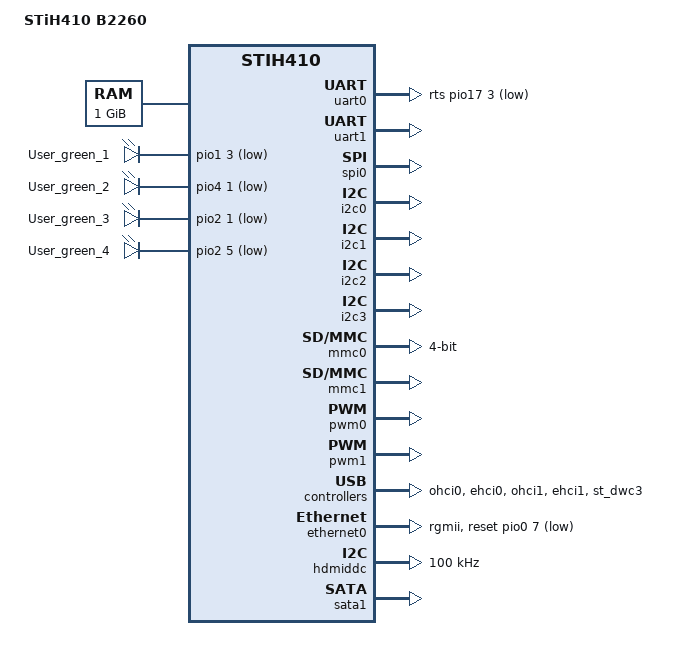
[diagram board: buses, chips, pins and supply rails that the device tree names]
// SPDX-License-Identifier: GPL-2.0-only
/*
 * Copyright (C) 2016 STMicroelectronics (R&D) Limited.
 * Author: Patrice Chotard <patrice.chotard@st.com>
 */
/dts-v1/;
#include "stih410.dtsi"
#include <dt-bindings/gpio/gpio.h>

/ {
	model = "STiH410 B2260";
	compatible = "st,stih410-b2260", "st,stih410";

	chosen {
		stdout-path = &uart1;
	};

	memory@40000000 {
		device_type = "memory";
		reg = <0x40000000 0x40000000>;
	};

	aliases {
		serial1 = &uart1;
		ethernet0 = &ethernet0;
	};

	leds {
		compatible = "gpio-leds";
		led-user-green-1 {
			label = "User_green_1";
			gpios = <&pio1 3 GPIO_ACTIVE_LOW>;
			linux,default-trigger = "heartbeat";
			default-state = "off";
		};

		led-user-green-2 {
			label = "User_green_2";
			gpios = <&pio4 1 GPIO_ACTIVE_LOW>;
			default-state = "off";
		};

		led-user-green-3 {
			label = "User_green_3";
			gpios = <&pio2 1 GPIO_ACTIVE_LOW>;
			default-state = "off";
		};

		led-user-green-4 {
			label = "User_green_4";
			gpios = <&pio2 5 GPIO_ACTIVE_LOW>;
			default-state = "off";
		};
	};

	sound: sound {
		compatible = "simple-audio-card";
		simple-audio-card,name = "STI-B2260";
		status = "okay";
		#address-cells = <1>;
		#size-cells = <0>;

		simple-audio-card,dai-link@0 {
			reg = <0>;
			/* DAC */
			format = "i2s";
			mclk-fs = <128>;
			cpu {
				sound-dai = <&sti_uni_player0>;
			};

			codec {
				sound-dai = <&sti_hdmi>;
			};
		};
	};

	miphy28lp_phy: miphy28lp {

		phy_port1: port@9b2a000 {
			st,osc-force-ext;
		};
	};

	usb2_picophy1: phy2 {
		status = "okay";
	};

	usb2_picophy2: phy3 {
		status = "okay";
	};

	soc {
		/* Low speed expansion connector */
		uart0: serial@9830000 {
			label = "LS-UART0";
			pinctrl-names = "default", "no-hw-flowctrl";
			pinctrl-0 = <&pinctrl_serial0_hw_flowctrl>;
			pinctrl-1 = <&pinctrl_serial0>;
			rts-gpios = <&pio17 3 GPIO_ACTIVE_LOW>;
			uart-has-rtscts;
			status = "okay";
		};

		/* Low speed expansion connector */
		uart1: serial@9831000 {
			label = "LS-UART1";
			status = "okay";
		};

		/* Low speed expansion connector */
		spi0: spi@9844000 {
			label = "LS-SPI0";
			cs-gpios = <&pio30 3 0>;
			status = "okay";
		};

		/* Low speed expansion connector */
		i2c0: i2c@9840000 {
			label = "LS-I2C0";
			status = "okay";
		};

		/* Low speed expansion connector */
		i2c1: i2c@9841000 {
			label = "LS-I2C1";
			status = "okay";
		};

		/* high speed expansion connector */
		i2c2: i2c@9842000 {
			label = "HS-I2C2";
			pinctrl-0 = <&pinctrl_i2c2_alt2_1>;
			status = "okay";
		};

		/* high speed expansion connector */
		i2c3: i2c@9843000 {
			label = "HS-I2C3";
			pinctrl-0 = <&pinctrl_i2c3_alt3_0>;
			status = "okay";
		};

		mmc0: sdhci@9060000 {
			pinctrl-0 = <&pinctrl_sd0>;
			bus-width = <4>;
			status = "okay";
		};

		/* high speed expansion connector */
		mmc1: sdhci@9080000 {
			status = "okay";
		};

		pwm0: pwm@9810000 {
			status = "okay";
		};

		pwm1: pwm@9510000 {
			status = "okay";
		};

		ohci0: usb@9a03c00 {
			status = "okay";
		};

		ehci0: usb@9a03e00 {
			status = "okay";
		};

		ohci1: usb@9a83c00 {
			status = "okay";
		};

		ehci1: usb@9a83e00 {
			status = "okay";
		};

		st_dwc3: dwc3@8f94000 {
			status = "okay";
		};

		ethernet0: dwmac@9630000 {
			phy-mode = "rgmii";
			pinctrl-0 = <&pinctrl_rgmii1 &pinctrl_rgmii1_mdio_1>;

			snps,reset-gpio = <&pio0 7 0>;
			snps,reset-active-low;
			snps,reset-delays-us = <0 10000 1000000>;

			status = "okay";
		};

		sti_uni_player0: sti-uni-player@8d80000 {
			status = "okay";
		};
		/* SSC11 to HDMI */
		hdmiddc: i2c@9541000 {
			/* HDMI V1.3a supports Standard mode only */
			clock-frequency = <100000>;
			st,i2c-min-scl-pulse-width-us = <0>;
			st,i2c-min-sda-pulse-width-us = <5>;
			status = "okay";
		};

		sata1: sata@9b28000 {
			status = "okay";
		};
	};
};
